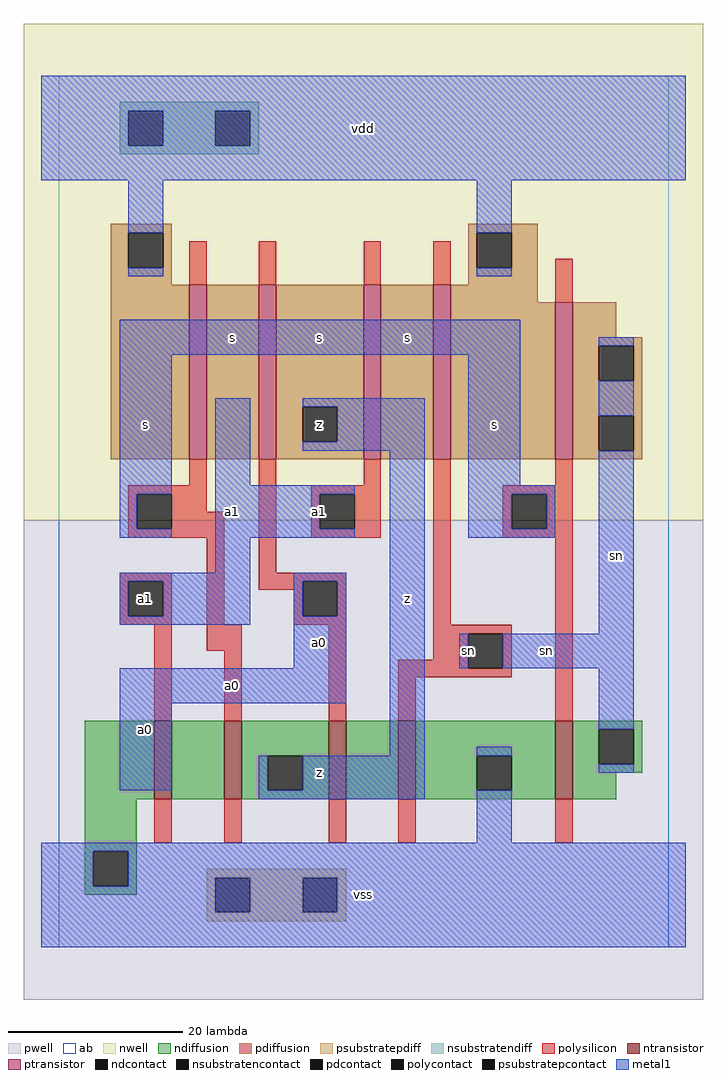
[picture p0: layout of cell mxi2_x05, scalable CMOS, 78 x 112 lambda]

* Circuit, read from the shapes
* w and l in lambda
.subckt mxi2_x05 a0 a1 s sn vdd vss z
M1 n1 a1 vss vss nfet w=9 l=2
M2 z s n1 vss nfet w=9 l=2
M3 n2 a0 z vss nfet w=9 l=2
M4 vss sn n2 vss nfet w=9 l=2
M5 sn s vss vss nfet w=9 l=2
M6 n3 s vdd vdd pfet w=20 l=2
M7 z a0 n3 vdd pfet w=20 l=2
M8 n4 a1 z vdd pfet w=20 l=2
M9 vdd sn n4 vdd pfet w=20 l=2
M10 sn s vdd vdd pfet w=18 l=2
.ends

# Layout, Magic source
magic
tech scmos
<< ab >>
rect 0 0 70 100
<< pwell >>
rect -4 -6 74 49
<< nwell >>
rect -4 49 74 106
<< polysilicon >>
rect 15 76 17 81
rect 23 76 25 81
rect 35 76 37 81
rect 43 76 45 81
rect 57 74 59 79
rect 15 53 17 56
rect 8 52 17 53
rect 8 48 9 52
rect 13 50 17 52
rect 13 48 19 50
rect 8 47 19 48
rect 7 42 13 43
rect 7 38 8 42
rect 12 38 13 42
rect 7 37 13 38
rect 11 26 13 37
rect 17 37 19 47
rect 23 43 25 56
rect 35 53 37 56
rect 29 52 37 53
rect 29 48 30 52
rect 34 48 37 52
rect 29 47 37 48
rect 23 42 33 43
rect 23 41 28 42
rect 27 38 28 41
rect 32 38 33 42
rect 27 37 33 38
rect 17 34 21 37
rect 19 26 21 34
rect 31 26 33 37
rect 43 37 45 56
rect 57 53 59 56
rect 51 52 59 53
rect 51 48 52 52
rect 56 48 59 52
rect 51 47 59 48
rect 43 36 52 37
rect 43 33 47 36
rect 39 32 47 33
rect 51 32 52 36
rect 39 31 52 32
rect 39 26 41 31
rect 57 26 59 47
rect 11 12 13 17
rect 19 12 21 17
rect 31 12 33 17
rect 39 12 41 17
rect 57 12 59 17
<< ndiffusion >>
rect 3 17 11 26
rect 13 17 19 26
rect 21 22 31 26
rect 21 18 24 22
rect 28 18 31 22
rect 21 17 31 18
rect 33 17 39 26
rect 41 22 57 26
rect 41 18 48 22
rect 52 18 57 22
rect 41 17 57 18
rect 59 25 67 26
rect 59 21 62 25
rect 66 21 67 25
rect 59 20 67 21
rect 59 17 64 20
rect 3 11 9 17
rect 3 7 4 11
rect 8 7 9 11
rect 3 6 9 7
<< pdiffusion >>
rect 6 82 13 83
rect 6 78 8 82
rect 12 78 13 82
rect 47 82 55 83
rect 6 76 13 78
rect 47 78 48 82
rect 52 78 55 82
rect 47 76 55 78
rect 6 56 15 76
rect 17 56 23 76
rect 25 62 35 76
rect 25 58 28 62
rect 32 58 35 62
rect 25 56 35 58
rect 37 56 43 76
rect 45 74 55 76
rect 45 56 57 74
rect 59 70 64 74
rect 59 69 67 70
rect 59 65 62 69
rect 66 65 67 69
rect 59 61 67 65
rect 59 57 62 61
rect 66 57 67 61
rect 59 56 67 57
<< metal1 >>
rect -2 88 72 100
rect 8 82 12 88
rect 8 77 12 78
rect 48 82 52 88
rect 48 77 52 78
rect 7 68 53 72
rect 7 52 13 68
rect 7 48 9 52
rect 7 47 13 48
rect 18 53 22 63
rect 28 62 42 63
rect 32 58 42 62
rect 28 57 42 58
rect 18 52 34 53
rect 18 48 30 52
rect 18 47 34 48
rect 18 43 22 47
rect 7 42 22 43
rect 7 38 8 42
rect 12 38 22 42
rect 7 37 22 38
rect 27 42 33 43
rect 27 38 28 42
rect 32 38 33 42
rect 27 32 33 38
rect 7 28 33 32
rect 7 18 13 28
rect 38 22 42 57
rect 47 53 53 68
rect 62 69 66 70
rect 62 61 66 65
rect 47 52 57 53
rect 47 48 52 52
rect 56 48 57 52
rect 47 47 57 48
rect 62 36 66 57
rect 46 32 47 36
rect 51 32 66 36
rect 62 25 66 32
rect 23 18 24 22
rect 28 18 42 22
rect 23 17 42 18
rect 48 22 52 23
rect 62 20 66 21
rect 48 12 52 18
rect -2 11 72 12
rect -2 7 4 11
rect 8 7 72 11
rect -2 0 72 7
<< ntransistor >>
rect 11 17 13 26
rect 19 17 21 26
rect 31 17 33 26
rect 39 17 41 26
rect 57 17 59 26
<< ptransistor >>
rect 15 56 17 76
rect 23 56 25 76
rect 35 56 37 76
rect 43 56 45 76
rect 57 56 59 74
<< polycontact >>
rect 9 48 13 52
rect 8 38 12 42
rect 30 48 34 52
rect 28 38 32 42
rect 52 48 56 52
rect 47 32 51 36
<< ndcontact >>
rect 24 18 28 22
rect 48 18 52 22
rect 62 21 66 25
rect 4 7 8 11
<< pdcontact >>
rect 8 78 12 82
rect 48 78 52 82
rect 28 58 32 62
rect 62 65 66 69
rect 62 57 66 61
<< psubstratepcontact >>
rect 18 4 22 8
rect 28 4 32 8
<< nsubstratencontact >>
rect 8 92 12 96
rect 18 92 22 96
<< psubstratepdiff >>
rect 17 8 33 9
rect 17 4 18 8
rect 22 4 28 8
rect 32 4 33 8
rect 17 3 33 4
<< nsubstratendiff >>
rect 7 96 23 97
rect 7 92 8 96
rect 12 92 18 96
rect 22 92 23 96
rect 7 91 23 92
<< labels >>
rlabel polysilicon 47 34 47 34 6 sn
rlabel metal1 10 25 10 25 6 a0
rlabel metal1 10 25 10 25 6 a0
rlabel metal1 20 30 20 30 6 a0
rlabel metal1 20 30 20 30 6 a0
rlabel polycontact 10 40 10 40 6 a1
rlabel polycontact 10 40 10 40 6 a1
rlabel metal1 20 50 20 50 6 a1
rlabel metal1 20 50 20 50 6 a1
rlabel metal1 10 60 10 60 6 s
rlabel metal1 10 60 10 60 6 s
rlabel metal1 20 70 20 70 6 s
rlabel metal1 20 70 20 70 6 s
rlabel metal1 35 6 35 6 6 vss
rlabel metal1 35 6 35 6 6 vss
rlabel metal1 30 20 30 20 6 z
rlabel metal1 30 20 30 20 6 z
rlabel metal1 30 35 30 35 6 a0
rlabel metal1 30 35 30 35 6 a0
rlabel metal1 30 50 30 50 6 a1
rlabel metal1 30 50 30 50 6 a1
rlabel pdcontact 30 60 30 60 6 z
rlabel pdcontact 30 60 30 60 6 z
rlabel metal1 30 70 30 70 6 s
rlabel metal1 30 70 30 70 6 s
rlabel metal1 35 94 35 94 6 vdd
rlabel metal1 35 94 35 94 6 vdd
rlabel metal1 40 40 40 40 6 z
rlabel metal1 40 40 40 40 6 z
rlabel metal1 50 60 50 60 6 s
rlabel metal1 50 60 50 60 6 s
rlabel metal1 40 70 40 70 6 s
rlabel metal1 40 70 40 70 6 s
rlabel metal1 56 34 56 34 6 sn
rlabel metal1 64 45 64 45 6 sn
<< end >>
